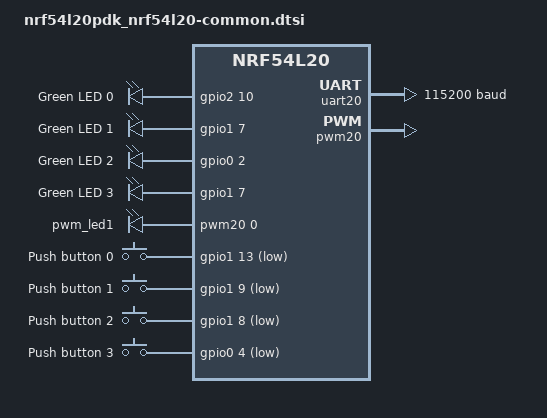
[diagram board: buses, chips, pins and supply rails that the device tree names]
/*
 * Copyright (c) 2024 Nordic Semiconductor ASA
 *
 * SPDX-License-Identifier: Apache-2.0
 */

#include "nrf54l20pdk_nrf54l20-pinctrl.dtsi"

/ {
	leds {
		compatible = "gpio-leds";
		led0: led_0 {
			gpios = <&gpio2 10 GPIO_ACTIVE_HIGH>;
			label = "Green LED 0";
		};
		led1: led_1 {
			gpios = <&gpio1 7 GPIO_ACTIVE_HIGH>;
			label = "Green LED 1";
		};
		led2: led_2 {
			gpios = <&gpio0 2 GPIO_ACTIVE_HIGH>;
			label = "Green LED 2";
		};
		led3: led_3 {
			gpios = <&gpio1 7 GPIO_ACTIVE_HIGH>;
			label = "Green LED 3";
		};
	};

	pwmleds {
		compatible = "pwm-leds";
		/*
		 * PWM signal can be exposed on GPIO pin only within same domain.
		 * There is only one domain which contains both PWM and GPIO:
		 * PWM20/21/22 and GPIO Port P1/P3.
		 * Only LEDs connected to P1/P3 can work with PWM, for example LED1.
		 */
		pwm_led1: pwm_led_1 {
			pwms = <&pwm20 0 PWM_MSEC(20) PWM_POLARITY_NORMAL>;
		};
	};

	buttons {
		compatible = "gpio-keys";
		button0: button_0 {
			gpios = <&gpio1 13 (GPIO_PULL_UP | GPIO_ACTIVE_LOW)>;
			label = "Push button 0";
			zephyr,code = <INPUT_KEY_0>;
		};
		button1: button_1 {
			gpios = <&gpio1 9 (GPIO_PULL_UP | GPIO_ACTIVE_LOW)>;
			label = "Push button 1";
			zephyr,code = <INPUT_KEY_1>;
		};
		button2: button_2 {
			gpios = <&gpio1 8 (GPIO_PULL_UP | GPIO_ACTIVE_LOW)>;
			label = "Push button 2";
			zephyr,code = <INPUT_KEY_2>;
		};
		button3: button_3 {
			gpios = <&gpio0 4 (GPIO_PULL_UP | GPIO_ACTIVE_LOW)>;
			label = "Push button 3";
			zephyr,code = <INPUT_KEY_3>;
		};
	};

	aliases {
		led0 = &led0;
		led1 = &led1;
		led2 = &led2;
		led3 = &led3;
		pwm-led0 = &pwm_led1;
		sw0 = &button0;
		sw1 = &button1;
		sw2 = &button2;
		sw3 = &button3;
		watchdog0 = &wdt31;
	};
};

&uart20 {
	current-speed = <115200>;
	pinctrl-0 = <&uart20_default>;
	pinctrl-1 = <&uart20_sleep>;
	pinctrl-names = "default", "sleep";
};

&pwm20 {
	status = "okay";
	pinctrl-0 = <&pwm20_default>;
	pinctrl-1 = <&pwm20_sleep>;
	pinctrl-names = "default", "sleep";
};
